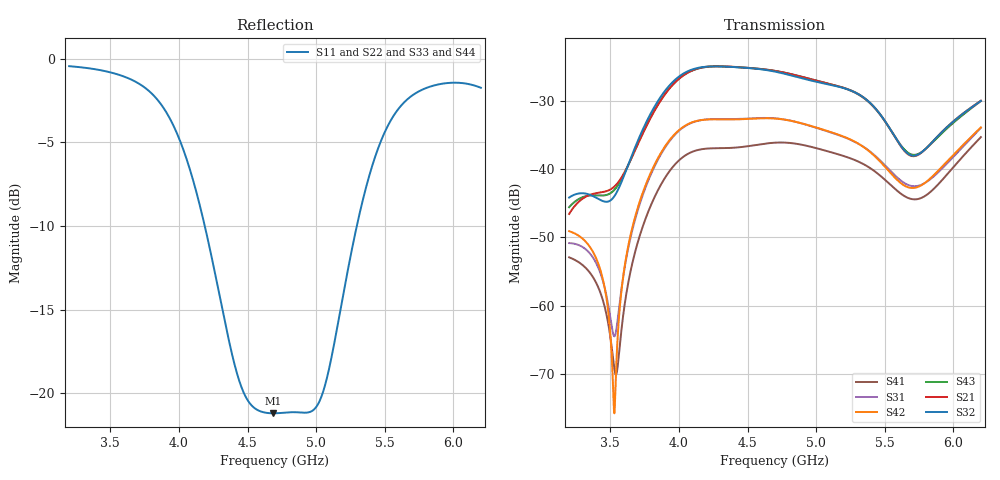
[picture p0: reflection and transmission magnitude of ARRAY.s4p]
! TOUCHSTONE file generated by CST MICROWAVE STUDIO
! Date and time: Tue Oct 21 16:07:06 2025
! Project name: ARRAY.cst
! Parameters = {L_parche_inf=15.28; L_parche_sup=14.98; Long_linea=17.19; W_linea=1.5; W_parche_inf=21.62; W_parche_sup=21.62; alpha=-21.9632; distancia_entre_parches=44.6809; h_0=4.335; h_cobre=0.035; h_sus=1.58; lambda_0=63.8298}
! Header version: 2024
! Port assignment regex: !\s*Touchstone port\s*([0-9]+)\s*=\s*(CST MWS port|CST DES external port|CST DES block port)\s*(.+)\s* \(\"(.*)\"\)(\s*mode\s*([0-9]+))?.*
! Touchstone port assignment:
! Touchstone port 1 = CST MWS port 1 ("")
! Touchstone port 2 = CST MWS port 2 ("")
! Touchstone port 3 = CST MWS port 3 ("")
! Touchstone port 4 = CST MWS port 4 ("")
# GHz S MA R 40
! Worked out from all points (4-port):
!   1001 points, 3.2 GHz to 6.2 GHz, reference 40 ohm
!   strongest paths, dB at 3.2 GHz, 3.95 GHz, 4.7 GHz, 5.45 GHz, 6.2 GHz:
!     S32: -44.2, -27.4, -25.8, -31.6, -30.1
!     S21: -46.6, -27.8, -25.7, -31.6, -30.0
!     S43: -45.6, -27.8, -25.7, -31.6, -30.1
!     S42: -49.1, -35.3, -32.6, -38.6, -33.9
!     S31: -50.9, -35.5, -32.6, -38.4, -34.0
!     S41: -52.9, -39.8, -36.2, -40.7, -35.3
!   lowest |S11| = -21.2 dB at 4.688 GHz (marker M1), VSWR 1.19, Z = 47.2 + j2.4 ohm
!   |S11| at or under -10 dB: 4.188 GHz to 5.296 GHz (1.108 GHz wide, 23.4 % of centre)
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3.2  0.9507 -40.0  0.005248 153.4  0.003501 -32.5  0.002256 150.6
     0.004681 159.4  0.9512 -40.0  0.006176 148.4  0.002869 -23.8
     0.002866 -23.8  0.006175 148.4  0.9512 -40.0  0.004682 159.4
     0.002256 150.6  0.003504 -32.6  0.005246 153.4  0.9507 -40.0
3.53  0.9044 -67.0  0.007035 68.0  0.0001652 -123.5  0.0003412 -109.3
      0.007431 67.1  0.9042 -66.9  0.006319 70.9  0.000597 -127.6
      0.0005956 -127.6  0.006317 70.9  0.9042 -66.9  0.007434 67.1
      0.0003426 -109.4  0.0001629 -123.7  0.007032 68.0  0.9044 -67.0
3.632  0.8746 -78.1  0.01071 56.4  0.00277 -97.0  0.001491 89.1
       0.01075 54.5  0.8754 -78.0  0.0108 61.5  0.002667 -104.7
       0.002665 -104.7  0.0108 61.5  0.8755 -78.0  0.01075 54.5
       0.001491 89.2  0.00277 -97.0  0.0107 56.4  0.8746 -78.1
3.869  0.7317 -113.1  0.03209 -21.3  0.0131 139.0  0.007674 -59.9
       0.03183 -21.1  0.7328 -113.4  0.03389 -21.7  0.01281 138.9
       0.0128 138.9  0.03389 -21.7  0.7329 -113.4  0.03182 -21.1
       0.007673 -59.9  0.0131 139.0  0.03208 -21.3  0.7317 -113.1
4.688  0.08699 16.9  0.05241 1.4  0.0234 106.4  0.01553 -138.7
       0.05236 1.3  0.0859 19.3  0.0518 -0.1  0.02349 106.1
       0.02349 106.1  0.0518 -0.1  0.08592 19.5  0.05236 1.3
       0.01553 -138.7  0.02341 106.4  0.05241 1.5  0.08699 16.9
5.45  0.538 139.0  0.02616 63.8  0.01177 126.8  0.009212 -171.4
      0.02631 63.1  0.5378 139.3  0.02635 62.6  0.01196 127.5
      0.01196 127.6  0.02634 62.6  0.5376 139.3  0.02633 63.1
      0.00921 -171.4  0.01176 126.8  0.02617 63.8  0.538 139.0
6.2  0.8192 33.6  0.0314 -131.4  0.02014 -145.1  0.01709 -136.7
     0.03155 -133.0  0.8214 33.7  0.03142 -134.9  0.01997 -143.5
     0.01997 -143.5  0.03142 -134.9  0.8214 33.7  0.03155 -133.0
     0.01709 -136.7  0.02013 -145.1  0.0314 -131.4  0.8192 33.6
